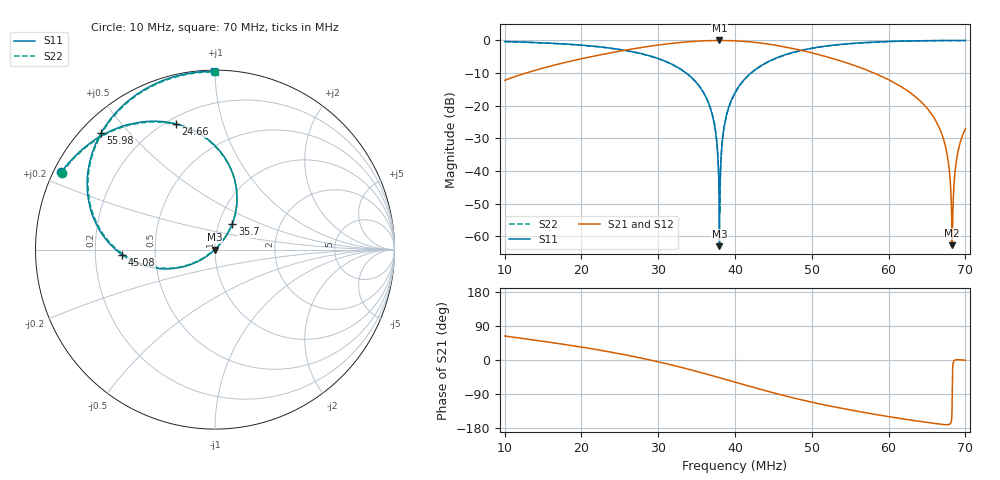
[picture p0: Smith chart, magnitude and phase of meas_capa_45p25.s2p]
#  HZ  S  RI  R  50.00
! Rohde & Schwarz ZVT8 8Ports - Version 4.11 - 1300.0000k08 SN: 100242
! Date: 2026-07-13 14:00:09
! Measurements: S11 S21 S12 S22
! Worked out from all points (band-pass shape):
!   3001 points, 10 MHz to 70 MHz, reference 50 ohm
!   highest |S21| = -0.05 dB at 37.96 MHz (marker M1); lowest = -62.7 dB at 68.28 MHz (marker M2)
!   |S21| within 3 dB of the highest: 25.66 MHz to 48.58 MHz (22.92 MHz wide, 61.8 % of centre)
!   lowest |S11| = -63.1 dB at 37.98 MHz (marker M3), VSWR 1.00, Z = 50 - j0.0532 ohm
!   |S11| at or under -10 dB: 33.63 MHz to 42.08 MHz (8.453 MHz wide, 22.3 % of centre)
!   |S22| runs from -53.3 to -0.1 dB; largest |S21 - S12| = 0.0019
!   S11 on the Smith chart (normalised r, x): 10 MHz: 0.02, +0.24; 24.66 MHz: 0.23, +0.71; 35.7 MHz: 1.16, +0.34; 45.08 MHz: 0.32, -0.03; 55.98 MHz: 0.06, +0.42; 70 MHz: 0.01, +1.00
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1e7  -0.8553 0.4306  0.1092 0.2174  0.1095 0.2171  -0.853 0.4278
2e7  -0.4688 0.7003  0.4324 0.2911  0.4319 0.2904  -0.4679 0.6967
2.466e7  -0.2175 0.7004  0.6392 0.2031  0.6386 0.2026  -0.2177 0.6964
3e7  0.0477 0.5226  0.842 -0.0709  0.8417 -0.0712  0.0461 0.5205
3.57e7  0.0969 0.1433  0.8127 -0.5453  0.8127 -0.5445  0.096 0.1446
3.716e7  0.042 0.0466  0.737 -0.6644  0.7367 -0.6634  0.0418 0.0496
3.796e7  0.000572 0.00141  0.6833 -0.7222  0.683 -0.7214  0.000752 0.00482
3.798e7  -0.00046 -0.000533  0.6819 -0.7235  0.6815 -0.7228  -0.000108 0.00364
3.82e7  -0.0133 -0.0119  0.6657 -0.7381  0.6651 -0.7371  -0.0137 -0.0092
3.84e7  -0.0253 -0.0214  0.6506 -0.7508  0.65 -0.7504  -0.0247 -0.0185
3.872e7  -0.0456 -0.0362  0.6249 -0.7706  0.625 -0.7701  -0.0444 -0.0335
4e7  -0.1345 -0.0825  0.5146 -0.8353  0.5145 -0.8352  -0.1326 -0.0796
4.508e7  -0.5169 -0.0293  0.0443 -0.8463  0.0443 -0.8452  -0.5135 -0.026
5e7  -0.7044 0.2743  -0.2326 -0.5981  -0.233 -0.5978  -0.6996 0.274
5.598e7  -0.6342 0.6505  -0.2814 -0.2765  -0.281 -0.2767  -0.63 0.6496
6e7  -0.483 0.8293  -0.2143 -0.1269  -0.2143 -0.1267  -0.4787 0.8276
6.628e7  -0.1846 0.9743  -0.0537 -0.0111  -0.0537 -0.0111  -0.1803 0.9713
6.752e7  -0.1235 0.9854  -0.0203 -0.0033  -0.0203 -0.00331  -0.119 0.9822
6.828e7  -0.0861 0.9897  -9.21e-05 -0.000723  -9.31e-05 -0.00072  -0.0821 0.9869
6.848e7  -0.0766 0.99  0.00517 -0.000306  0.00517 -0.000305  -0.0725 0.9877
6.902e7  -0.0505 0.9919  0.0193 0.000305  0.0193 0.000307  -0.0461 0.9891
7e7  -0.00346 0.9923  0.0444 -0.000515  0.0444 -0.000523  0.000877 0.99
